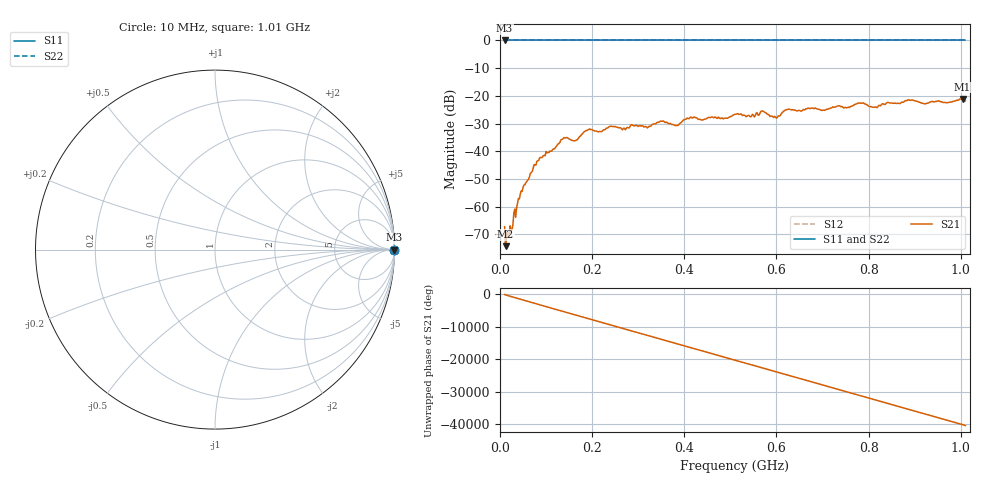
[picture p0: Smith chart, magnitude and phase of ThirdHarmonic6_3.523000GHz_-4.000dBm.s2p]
! 8/17/2025 11:33:32 AM
! C:\ANRITSUVNA\TEMP\TEMP.S2P
! CHANNEL.1
! TR.MEASUREMENT
! RAW.DATA
! RF.CORRECTION.OFF
! AVERAGING.OFF
! IF.BANDWIDTH: 5KHZ
! SWEEPTYPE:  FREQ.SWEEP(Linear)
! Reference Plane Port Info
! PORT:  PORT1  PORT2
! DISTANCE:  0  m  0  m
! TIME:  0  s  0  s
! PHASE.OFFSET:  0  deg.  0  deg.
! LOSS:  0  dB  0  dB
! REF.LOSS:  0  dB  0  dB
! REF.FREQ:  0  Hz  0  Hz
! Power Info
! POWER:  -20  dBm  -20  dBm
! EFF.POWER:  -20  dBm  -20  dBm
! SOURCE.ATTEN:  0  dB  0  dB
! TEST.ATTEN:  0  dB  0  dB
# GHZ S RI R 50.0
! FREQ.GHZ  S11RE  S11IM  S21RE  S21IM  S12RE  S12IM  S22RE  S22IM
!; PortSelection: Port_12
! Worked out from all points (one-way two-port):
!   501 points, 10 MHz to 1.01 GHz, reference 50 ohm
!   highest |S21| = -21.08 dB at 1.004 GHz (marker M1); lowest = -74.2 dB at 12 MHz (marker M2)
!   lowest |S11| = 0.0 dB at 10 MHz (marker M3)
!   |S11| at or under -10 dB: nowhere
!   |S22| runs from 0.0 to 0.0 dB; largest |S21 - S12| = 1.1
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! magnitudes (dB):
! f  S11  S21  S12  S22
! 10 MHz  0.0  -67.2  0.0  0.0
! 12 MHz  0.0  -74.2  0.0  0.0
! 16 MHz  0.0  -69.1  0.0  0.0
! 22 MHz  0.0  -66.9  0.0  0.0
! 48 MHz  0.0  -54.5  0.0  0.0
! 84 MHz  0.0  -43.3  0.0  0.0
! 136 MHz  0.0  -35.6  0.0  0.0
! 164 MHz  0.0  -36.1  0.0  0.0
! 178 MHz  0.0  -33.8  0.0  0.0
! 344 MHz  0.0  -29.5  0.0  0.0
! 384 MHz  0.0  -30.6  0.0  0.0
! 410 MHz  0.0  -28.2  0.0  0.0
! 510 MHz  0.0  -26.7  0.0  0.0
! 570 MHz  0.0  -25.5  0.0  0.0
! 598 MHz  0.0  -27.7  0.0  0.0
! 624 MHz  0.0  -24.9  0.0  0.0
! 678 MHz  0.0  -24.3  0.0  0.0
! 782 MHz  0.0  -22.6  0.0  0.0
! 814 MHz  0.0  -24.0  0.0  0.0
! 844 MHz  0.0  -22.5  0.0  0.0
! 1.004 GHz  0.0  -21.1  0.0  0.0
! 1.01 GHz  0.0  -21.8  0.0  0.0
